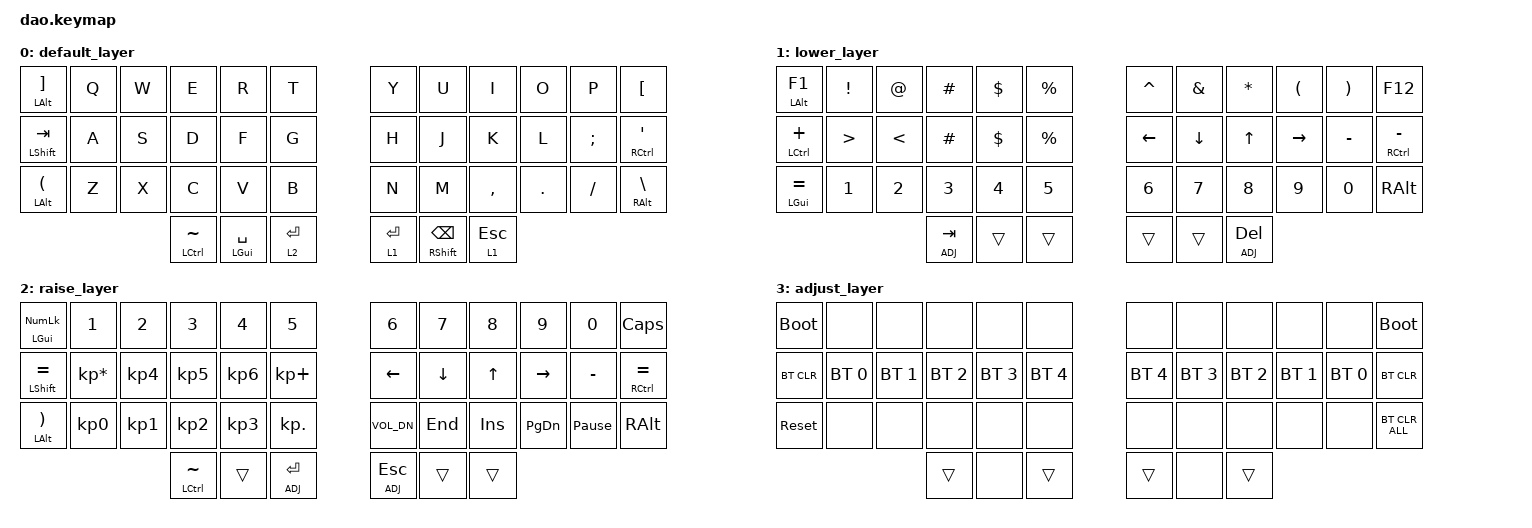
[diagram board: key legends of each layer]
/*
 * Copyright (c) 2021 Rafael Yumagulov
 *
 * SPDX-License-Identifier: MIT
 */

#include <behaviors.dtsi>
#include <dt-bindings/zmk/bt.h>
#include <dt-bindings/zmk/keys.h>

#define DEF 0
#define LWR 1
#define RSE 2
#define ADJ 3

&lt { quick_tap_ms = <200>; };

&mt { quick_tap_ms = <200>; };

/ {
    chosen {
        zmk,matrix_transform = &default_transform;

        // zmk,matrix_transform = &extra_keys_transform;
    };
};

/ {
    keymap {
        compatible = "zmk,keymap";

        default_layer {
            bindings = <
&mt LEFT_ALT RBKT              &kp Q  &kp W  &kp E            &kp R               &kp T      &kp Y        &kp U                &kp I         &kp O    &kp P     &kp LBKT
&mt LEFT_SHIFT TAB             &kp A  &kp S  &kp D            &kp F               &kp G      &kp H        &kp J                &kp K         &kp L    &kp SEMI  &mt RCTRL SQT
&mt LEFT_ALT LEFT_PARENTHESIS  &kp Z  &kp X  &kp C            &kp V               &kp B      &kp N        &kp M                &kp COMMA     &kp DOT  &kp FSLH  &mt RALT BSLH
                                             &mt LCTRL TILDE  &mt LEFT_GUI SPACE  &lt 2 RET  &lt 1 ENTER  &mt RSHFT BACKSPACE  &lt 1 ESCAPE
            >;
        };

        lower_layer {
            bindings = <
&mt LEFT_ALT F1     &kp EXCLAMATION   &kp AT         &kp HASH     &kp DOLLAR  &kp PERCENT  &kp CARET  &kp AMPS  &kp STAR     &kp LPAR   &kp RPAR   &kp F12
&mt LCTRL PLUS      &kp GREATER_THAN  &kp LESS_THAN  &kp HASH     &kp DLLR    &kp PRCNT    &kp LEFT   &kp DOWN  &kp UP       &kp RIGHT  &kp MINUS  &mt RCTRL MINUS
&mt LEFT_GUI EQUAL  &kp N1            &kp N2         &kp N3       &kp N4      &kp N5       &kp N6     &kp N7    &kp N8       &kp N9     &kp N0     &kp RALT
                                                     &lt ADJ TAB  &trans      &trans       &trans     &trans    &lt ADJ DEL
            >;
        };

        raise_layer {
            bindings = <
&mt LGUI KP_NUM                 &kp NUMBER_1     &kp NUMBER_2  &kp NUMBER_3     &kp NUMBER_4  &kp N5       &kp NUMBER_6    &kp N7    &kp N8        &kp N9     &kp N0           &kp CLCK
&mt LEFT_SHIFT EQUAL            &kp KP_MULTIPLY  &kp KP_N4     &kp KP_N5        &kp KP_N6     &kp KP_PLUS  &kp LEFT_ARROW  &kp DOWN  &kp UP_ARROW  &kp RIGHT  &kp MINUS        &mt RCTRL EQUAL
&mt LEFT_ALT RIGHT_PARENTHESIS  &kp KP_N0        &kp KP_N1     &kp KP_N2        &kp KP_N3     &kp KP_DOT   &kp C_VOL_DN    &kp END   &kp INS       &kp PG_DN  &kp PAUSE_BREAK  &kp RALT
                                                               &mt LCTRL TILDE  &trans        &lt ADJ RET  &lt ADJ ESC     &trans    &trans
            >;
        };

        adjust_layer {
            bindings = <
&bootloader  &none         &none         &none         &none         &none         &none         &none         &none         &none         &none         &bootloader
&bt BT_CLR   &bt BT_SEL 0  &bt BT_SEL 1  &bt BT_SEL 2  &bt BT_SEL 3  &bt BT_SEL 4  &bt BT_SEL 4  &bt BT_SEL 3  &bt BT_SEL 2  &bt BT_SEL 1  &bt BT_SEL 0  &bt BT_CLR
&sys_reset   &none         &none         &none         &none         &none         &none         &none         &none         &none         &none         &bt BT_CLR_ALL
                                         &trans        &none         &trans        &trans        &none         &trans
            >;
        };
    };
};
